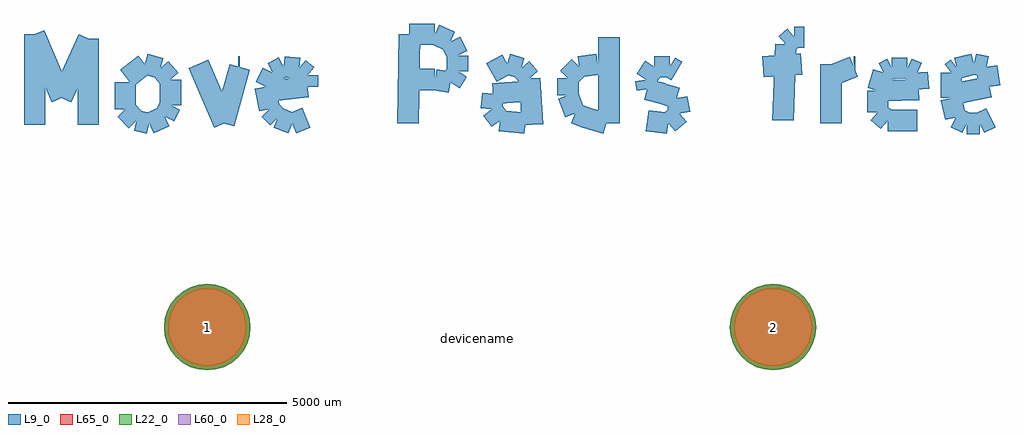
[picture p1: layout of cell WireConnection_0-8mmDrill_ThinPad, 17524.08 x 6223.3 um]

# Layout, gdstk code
import gdstk
lib = gdstk.Library(unit=1e-6, precision=1e-09)
def P(c, l, *ps):  # polygons
    for p in ps: c.add(gdstk.Polygon(p, *l))
L9_0 = (9, 0)
L22_0 = (22, 0)
L28_0 = (28, 0)
L60_0 = (60, 0)
L65_0 = (65, 0)

wireconnection_0_8mmdril = lib.new_cell('WireConnection_0-8mmDrill_ThinPad')
P(wireconnection_0_8mmdril, L22_0, [(10935,0),(10920.109,151.195),(10876.007,296.58),(10804.389,430.567),(10708.008,548.008),(10590.567,644.389),(10456.58,716.007),(10311.195,760.109),(10160,775),(10008.805,760.109),(9863.42,716.007),(9729.433,644.389),(9611.992,548.008),(9515.611,430.567),(9443.993,296.58),(9399.891,151.195),(9385,0),(9399.891,-151.195),(9443.993,-296.58),(9515.611,-430.567),(9611.992,-548.008),(9729.433,-644.389),(9863.42,-716.007),(10008.805,-760.109),(10160,-775),(10311.195,-760.109),(10456.58,-716.007),(10590.567,-644.389),(10708.008,-548.008),(10804.389,-430.567),(10876.007,-296.58),(10920.109,-151.195)],
  [(775,0),(760.109,151.195),(716.007,296.58),(644.389,430.567),(548.008,548.008),(430.567,644.389),(296.58,716.007),(151.195,760.109),(0,775),(-151.195,760.109),(-296.58,716.007),(-430.567,644.389),(-548.008,548.008),(-644.389,430.567),(-716.007,296.58),(-760.109,151.195),(-775,0),(-760.109,-151.195),(-716.007,-296.58),(-644.389,-430.567),(-548.008,-548.008),(-430.567,-644.389),(-296.58,-716.007),(-151.195,-760.109),(0,-775),(151.195,-760.109),(296.58,-716.007),(430.567,-644.389),(548.008,-548.008),(644.389,-430.567),(716.007,-296.58),(760.109,-151.195)])
P(wireconnection_0_8mmdril, L28_0, [(10860,0),(10846.55,136.563),(10806.716,267.878),(10742.029,388.899),(10654.975,494.975),(10548.899,582.029),(10427.878,646.716),(10296.563,686.55),(10160,700),(10023.437,686.55),(9892.122,646.716),(9771.101,582.029),(9665.025,494.975),(9577.971,388.899),(9513.284,267.878),(9473.45,136.563),(9460,0),(9473.45,-136.563),(9513.284,-267.878),(9577.971,-388.899),(9665.025,-494.975),(9771.101,-582.029),(9892.122,-646.716),(10023.437,-686.55),(10160,-700),(10296.563,-686.55),(10427.878,-646.716),(10548.899,-582.029),(10654.975,-494.975),(10742.029,-388.899),(10806.716,-267.878),(10846.55,-136.563)],
  [(700,0),(686.55,136.563),(646.716,267.878),(582.029,388.899),(494.975,494.975),(388.899,582.029),(267.878,646.716),(136.563,686.55),(0,700),(-136.563,686.55),(-267.878,646.716),(-388.899,582.029),(-494.975,494.975),(-582.029,388.899),(-646.716,267.878),(-686.55,136.563),(-700,0),(-686.55,-136.563),(-646.716,-267.878),(-582.029,-388.899),(-494.975,-494.975),(-388.899,-582.029),(-267.878,-646.716),(-136.563,-686.55),(0,-700),(136.563,-686.55),(267.878,-646.716),(388.899,-582.029),(494.975,-494.975),(582.029,-388.899),(646.716,-267.878),(686.55,-136.563)])
P(wireconnection_0_8mmdril, L60_0, [(10860,0),(10846.55,136.563),(10806.716,267.878),(10742.029,388.899),(10654.975,494.975),(10548.899,582.029),(10427.878,646.716),(10296.563,686.55),(10160,700),(10023.437,686.55),(9892.122,646.716),(9771.101,582.029),(9665.025,494.975),(9577.971,388.899),(9513.284,267.878),(9473.45,136.563),(9460,0),(9473.45,-136.563),(9513.284,-267.878),(9577.971,-388.899),(9665.025,-494.975),(9771.101,-582.029),(9892.122,-646.716),(10023.437,-686.55),(10160,-700),(10296.563,-686.55),(10427.878,-646.716),(10548.899,-582.029),(10654.975,-494.975),(10742.029,-388.899),(10806.716,-267.878),(10846.55,-136.563)],
  [(700,0),(686.55,136.563),(646.716,267.878),(582.029,388.899),(494.975,494.975),(388.899,582.029),(267.878,646.716),(136.563,686.55),(0,700),(-136.563,686.55),(-267.878,646.716),(-388.899,582.029),(-494.975,494.975),(-582.029,388.899),(-646.716,267.878),(-686.55,136.563),(-700,0),(-686.55,-136.563),(-646.716,-267.878),(-582.029,-388.899),(-494.975,-494.975),(-388.899,-582.029),(-267.878,-646.716),(-136.563,-686.55),(0,-700),(136.563,-686.55),(267.878,-646.716),(388.899,-582.029),(494.975,-494.975),(582.029,-388.899),(646.716,-267.878),(686.55,-136.563)])
P(wireconnection_0_8mmdril, L65_0, [(10935,0),(10920.109,151.195),(10876.007,296.58),(10804.389,430.567),(10708.008,548.008),(10590.567,644.389),(10456.58,716.007),(10311.195,760.109),(10160,775),(10008.805,760.109),(9863.42,716.007),(9729.433,644.389),(9611.992,548.008),(9515.611,430.567),(9443.993,296.58),(9399.891,151.195),(9385,0),(9399.891,-151.195),(9443.993,-296.58),(9515.611,-430.567),(9611.992,-548.008),(9729.433,-644.389),(9863.42,-716.007),(10008.805,-760.109),(10160,-775),(10311.195,-760.109),(10456.58,-716.007),(10590.567,-644.389),(10708.008,-548.008),(10804.389,-430.567),(10876.007,-296.58),(10920.109,-151.195)],
  [(775,0),(760.109,151.195),(716.007,296.58),(644.389,430.567),(548.008,548.008),(430.567,644.389),(296.58,716.007),(151.195,760.109),(0,775),(-151.195,760.109),(-296.58,716.007),(-430.567,644.389),(-548.008,548.008),(-644.389,430.567),(-716.007,296.58),(-760.109,151.195),(-775,0),(-760.109,-151.195),(-716.007,-296.58),(-644.389,-430.567),(-548.008,-548.008),(-430.567,-644.389),(-296.58,-716.007),(-151.195,-760.109),(0,-775),(151.195,-760.109),(296.58,-716.007),(430.567,-644.389),(548.008,-548.008),(644.389,-430.567),(716.007,-296.58),(760.109,-151.195)])
wireconnection_0_8mmdril.add(gdstk.FlexPath([(-2133.6,5181.6),(-2133.6,3632.2)], 380.998, ends="flush", simple_path=True, layer=9, datatype=0))  # L9_0
wireconnection_0_8mmdril.add(gdstk.FlexPath([(-2616.2,4114.8),(-2133.6,5181.6)], 380.998, ends="flush", simple_path=True, layer=9, datatype=0))  # L9_0
wireconnection_0_8mmdril.add(gdstk.FlexPath([(-3098.8,5257.8),(-2616.2,4114.8)], 380.998, ends="flush", simple_path=True, layer=9, datatype=0))  # L9_0
wireconnection_0_8mmdril.add(gdstk.FlexPath([(-3098.8,3632.2),(-3098.8,5257.8)], 380.998, ends="flush", simple_path=True, layer=9, datatype=0))  # L9_0
wireconnection_0_8mmdril.add(gdstk.FlexPath([(-1117.6,4724.4),(-1447.8,4470.4)], 380.998, ends="flush", simple_path=True, layer=9, datatype=0))  # L9_0
wireconnection_0_8mmdril.add(gdstk.FlexPath([(-838.2,4648.2),(-1117.6,4724.4)], 380.998, ends="flush", simple_path=True, layer=9, datatype=0))  # L9_0
wireconnection_0_8mmdril.add(gdstk.FlexPath([(-660.4,4445),(-838.2,4648.2)], 380.998, ends="flush", simple_path=True, layer=9, datatype=0))  # L9_0
wireconnection_0_8mmdril.add(gdstk.FlexPath([(-660.4,3987.8),(-660.4,4445)], 380.998, ends="flush", simple_path=True, layer=9, datatype=0))  # L9_0
wireconnection_0_8mmdril.add(gdstk.FlexPath([(-762,3784.6),(-660.4,3987.8)], 380.998, ends="flush", simple_path=True, layer=9, datatype=0))  # L9_0
wireconnection_0_8mmdril.add(gdstk.FlexPath([(-1041.4,3657.6),(-762,3784.6)], 380.998, ends="flush", simple_path=True, layer=9, datatype=0))  # L9_0
wireconnection_0_8mmdril.add(gdstk.FlexPath([(-1270,3708.4),(-1041.4,3657.6)], 380.998, ends="flush", simple_path=True, layer=9, datatype=0))  # L9_0
wireconnection_0_8mmdril.add(gdstk.FlexPath([(-1473.2,3911.6),(-1270,3708.4)], 380.998, ends="flush", simple_path=True, layer=9, datatype=0))  # L9_0
wireconnection_0_8mmdril.add(gdstk.FlexPath([(-1473.2,4394.2),(-1473.2,3911.6)], 380.998, ends="flush", simple_path=True, layer=9, datatype=0))  # L9_0
wireconnection_0_8mmdril.add(gdstk.FlexPath([(584.2,4673.6),(558.8,4673.6)], 380.998, ends="flush", simple_path=True, layer=9, datatype=0))  # L9_0
wireconnection_0_8mmdril.add(gdstk.FlexPath([(304.8,3657.6),(584.2,4673.6)], 380.998, ends="flush", simple_path=True, layer=9, datatype=0))  # L9_0
wireconnection_0_8mmdril.add(gdstk.FlexPath([(-152.4,4724.4),(304.8,3657.6)], 380.998, ends="flush", simple_path=True, layer=9, datatype=0))  # L9_0
wireconnection_0_8mmdril.add(gdstk.FlexPath([(1803.4,4318),(1168.4,4241.8)], 380.998, ends="flush", simple_path=True, layer=9, datatype=0))  # L9_0
wireconnection_0_8mmdril.add(gdstk.FlexPath([(1803.4,4521.2),(1803.4,4318)], 380.998, ends="flush", simple_path=True, layer=9, datatype=0))  # L9_0
wireconnection_0_8mmdril.add(gdstk.FlexPath([(1651,4648.2),(1803.4,4521.2)], 380.998, ends="flush", simple_path=True, layer=9, datatype=0))  # L9_0
wireconnection_0_8mmdril.add(gdstk.FlexPath([(1371.6,4673.6),(1651,4648.2)], 380.998, ends="flush", simple_path=True, layer=9, datatype=0))  # L9_0
wireconnection_0_8mmdril.add(gdstk.FlexPath([(1168.4,4572),(1371.6,4673.6)], 380.998, ends="flush", simple_path=True, layer=9, datatype=0))  # L9_0
wireconnection_0_8mmdril.add(gdstk.FlexPath([(1041.4,4318),(1168.4,4572)], 380.998, ends="flush", simple_path=True, layer=9, datatype=0))  # L9_0
wireconnection_0_8mmdril.add(gdstk.FlexPath([(1117.6,3911.6),(1041.4,4318)], 380.998, ends="flush", simple_path=True, layer=9, datatype=0))  # L9_0
wireconnection_0_8mmdril.add(gdstk.FlexPath([(1270,3759.2),(1117.6,3911.6)], 380.998, ends="flush", simple_path=True, layer=9, datatype=0))  # L9_0
wireconnection_0_8mmdril.add(gdstk.FlexPath([(1524,3657.6),(1270,3759.2)], 380.998, ends="flush", simple_path=True, layer=9, datatype=0))  # L9_0
wireconnection_0_8mmdril.add(gdstk.FlexPath([(1778,3759.2),(1524,3657.6)], 380.998, ends="flush", simple_path=True, layer=9, datatype=0))  # L9_0
wireconnection_0_8mmdril.add(gdstk.FlexPath([(4089.4,4445),(3632.2,4445)], 380.998, ends="flush", simple_path=True, layer=9, datatype=0))  # L9_0
wireconnection_0_8mmdril.add(gdstk.FlexPath([(4368.8,4394.2),(4089.4,4445)], 380.998, ends="flush", simple_path=True, layer=9, datatype=0))  # L9_0
wireconnection_0_8mmdril.add(gdstk.FlexPath([(4495.8,4597.4),(4368.8,4394.2)], 380.998, ends="flush", simple_path=True, layer=9, datatype=0))  # L9_0
wireconnection_0_8mmdril.add(gdstk.FlexPath([(4495.8,4876.8),(4495.8,4597.4)], 380.998, ends="flush", simple_path=True, layer=9, datatype=0))  # L9_0
wireconnection_0_8mmdril.add(gdstk.FlexPath([(4368.8,5130.8),(4495.8,4876.8)], 380.998, ends="flush", simple_path=True, layer=9, datatype=0))  # L9_0
wireconnection_0_8mmdril.add(gdstk.FlexPath([(4089.4,5257.8),(4368.8,5130.8)], 380.998, ends="flush", simple_path=True, layer=9, datatype=0))  # L9_0
wireconnection_0_8mmdril.add(gdstk.FlexPath([(3632.2,5257.8),(4089.4,5257.8)], 380.998, ends="flush", simple_path=True, layer=9, datatype=0))  # L9_0
wireconnection_0_8mmdril.add(gdstk.FlexPath([(3606.8,3657.6),(3632.2,5257.8)], 380.998, ends="flush", simple_path=True, layer=9, datatype=0))  # L9_0
wireconnection_0_8mmdril.add(gdstk.FlexPath([(5791.2,4470.4),(5842,3632.2)], 380.998, ends="flush", simple_path=True, layer=9, datatype=0))  # L9_0
wireconnection_0_8mmdril.add(gdstk.FlexPath([(5638.8,4648.2),(5791.2,4470.4)], 380.998, ends="flush", simple_path=True, layer=9, datatype=0))  # L9_0
wireconnection_0_8mmdril.add(gdstk.FlexPath([(5384.8,4724.4),(5638.8,4648.2)], 380.998, ends="flush", simple_path=True, layer=9, datatype=0))  # L9_0
wireconnection_0_8mmdril.add(gdstk.FlexPath([(5105.4,4572),(5384.8,4724.4)], 380.998, ends="flush", simple_path=True, layer=9, datatype=0))  # L9_0
wireconnection_0_8mmdril.add(gdstk.FlexPath([(5130.8,4191),(5842,4241.8)], 380.998, ends="flush", simple_path=True, layer=9, datatype=0))  # L9_0
wireconnection_0_8mmdril.add(gdstk.FlexPath([(5105.4,3911.6),(5130.8,4191)], 380.998, ends="flush", simple_path=True, layer=9, datatype=0))  # L9_0
wireconnection_0_8mmdril.add(gdstk.FlexPath([(5257.8,3708.4),(5105.4,3911.6)], 380.998, ends="flush", simple_path=True, layer=9, datatype=0))  # L9_0
wireconnection_0_8mmdril.add(gdstk.FlexPath([(5715,3657.6),(5257.8,3708.4)], 380.998, ends="flush", simple_path=True, layer=9, datatype=0))  # L9_0
wireconnection_0_8mmdril.add(gdstk.FlexPath([(7213.6,5207),(7213.6,3657.6)], 380.998, ends="flush", simple_path=True, layer=9, datatype=0))  # L9_0
wireconnection_0_8mmdril.add(gdstk.FlexPath([(6680.2,4673.6),(7010.4,4724.4)], 380.998, ends="flush", simple_path=True, layer=9, datatype=0))  # L9_0
wireconnection_0_8mmdril.add(gdstk.FlexPath([(6477,4470.4),(6680.2,4673.6)], 380.998, ends="flush", simple_path=True, layer=9, datatype=0))  # L9_0
wireconnection_0_8mmdril.add(gdstk.FlexPath([(6477,4165.6),(6477,4470.4)], 380.998, ends="flush", simple_path=True, layer=9, datatype=0))  # L9_0
wireconnection_0_8mmdril.add(gdstk.FlexPath([(6604,3835.4),(6477,4165.6)], 380.998, ends="flush", simple_path=True, layer=9, datatype=0))  # L9_0
wireconnection_0_8mmdril.add(gdstk.FlexPath([(6807.2,3759.2),(6604,3835.4)], 380.998, ends="flush", simple_path=True, layer=9, datatype=0))  # L9_0
wireconnection_0_8mmdril.add(gdstk.FlexPath([(7162.8,3657.6),(6807.2,3759.2)], 380.998, ends="flush", simple_path=True, layer=9, datatype=0))  # L9_0
wireconnection_0_8mmdril.add(gdstk.FlexPath([(8280.4,3657.6),(7899.4,3708.4)], 380.998, ends="flush", simple_path=True, layer=9, datatype=0))  # L9_0
wireconnection_0_8mmdril.add(gdstk.FlexPath([(8483.6,3835.4),(8280.4,3657.6)], 380.998, ends="flush", simple_path=True, layer=9, datatype=0))  # L9_0
wireconnection_0_8mmdril.add(gdstk.FlexPath([(8432.8,4114.8),(8483.6,3835.4)], 380.998, ends="flush", simple_path=True, layer=9, datatype=0))  # L9_0
wireconnection_0_8mmdril.add(gdstk.FlexPath([(8178.8,4191),(8432.8,4114.8)], 380.998, ends="flush", simple_path=True, layer=9, datatype=0))  # L9_0
wireconnection_0_8mmdril.add(gdstk.FlexPath([(7899.4,4267.2),(8178.8,4191)], 380.998, ends="flush", simple_path=True, layer=9, datatype=0))  # L9_0
wireconnection_0_8mmdril.add(gdstk.FlexPath([(7874,4445),(7899.4,4267.2)], 380.998, ends="flush", simple_path=True, layer=9, datatype=0))  # L9_0
wireconnection_0_8mmdril.add(gdstk.FlexPath([(8026.4,4673.6),(7874,4445)], 380.998, ends="flush", simple_path=True, layer=9, datatype=0))  # L9_0
wireconnection_0_8mmdril.add(gdstk.FlexPath([(8305.8,4673.6),(8026.4,4673.6)], 380.998, ends="flush", simple_path=True, layer=9, datatype=0))  # L9_0
wireconnection_0_8mmdril.add(gdstk.FlexPath([(8432.8,4597.4),(8305.8,4673.6)], 380.998, ends="flush", simple_path=True, layer=9, datatype=0))  # L9_0
wireconnection_0_8mmdril.add(gdstk.FlexPath([(10388.6,5080),(10337.8,3708.4)], 380.998, ends="flush", simple_path=True, layer=9, datatype=0))  # L9_0
wireconnection_0_8mmdril.add(gdstk.FlexPath([(10541,5207),(10388.6,5080)], 380.998, ends="flush", simple_path=True, layer=9, datatype=0))  # L9_0
wireconnection_0_8mmdril.add(gdstk.FlexPath([(10718.8,5207),(10541,5207)], 380.998, ends="flush", simple_path=True, layer=9, datatype=0))  # L9_0
wireconnection_0_8mmdril.add(gdstk.FlexPath([(9982.2,4673.6),(10668,4724.4)], 380.998, ends="flush", simple_path=True, layer=9, datatype=0))  # L9_0
wireconnection_0_8mmdril.add(gdstk.FlexPath([(11201.4,4724.4),(11201.4,3657.6)], 380.998, ends="flush", simple_path=True, layer=9, datatype=0))  # L9_0
wireconnection_0_8mmdril.add(gdstk.FlexPath([(11607.8,4673.6),(11633.2,4673.6)], 380.998, ends="flush", simple_path=True, layer=9, datatype=0))  # L9_0
wireconnection_0_8mmdril.add(gdstk.FlexPath([(11226.8,4521.2),(11607.8,4673.6)], 380.998, ends="flush", simple_path=True, layer=9, datatype=0))  # L9_0
wireconnection_0_8mmdril.add(gdstk.FlexPath([(12776.2,4267.2),(12141.2,4241.8)], 380.998, ends="flush", simple_path=True, layer=9, datatype=0))  # L9_0
wireconnection_0_8mmdril.add(gdstk.FlexPath([(12750.8,4572),(12776.2,4267.2)], 380.998, ends="flush", simple_path=True, layer=9, datatype=0))  # L9_0
wireconnection_0_8mmdril.add(gdstk.FlexPath([(12573,4648.2),(12750.8,4572)], 380.998, ends="flush", simple_path=True, layer=9, datatype=0))  # L9_0
wireconnection_0_8mmdril.add(gdstk.FlexPath([(12293.6,4648.2),(12573,4648.2)], 380.998, ends="flush", simple_path=True, layer=9, datatype=0))  # L9_0
wireconnection_0_8mmdril.add(gdstk.FlexPath([(12141.2,4572),(12293.6,4648.2)], 380.998, ends="flush", simple_path=True, layer=9, datatype=0))  # L9_0
wireconnection_0_8mmdril.add(gdstk.FlexPath([(12039.6,4241.8),(12141.2,4572)], 380.998, ends="flush", simple_path=True, layer=9, datatype=0))  # L9_0
wireconnection_0_8mmdril.add(gdstk.FlexPath([(12039.6,3860.8),(12039.6,4241.8)], 380.998, ends="flush", simple_path=True, layer=9, datatype=0))  # L9_0
wireconnection_0_8mmdril.add(gdstk.FlexPath([(12217.4,3708.4),(12039.6,3860.8)], 380.998, ends="flush", simple_path=True, layer=9, datatype=0))  # L9_0
wireconnection_0_8mmdril.add(gdstk.FlexPath([(12420.6,3708.4),(12217.4,3708.4)], 380.998, ends="flush", simple_path=True, layer=9, datatype=0))  # L9_0
wireconnection_0_8mmdril.add(gdstk.FlexPath([(12750.8,3708.4),(12420.6,3708.4)], 380.998, ends="flush", simple_path=True, layer=9, datatype=0))  # L9_0
wireconnection_0_8mmdril.add(gdstk.FlexPath([(13436.6,4191),(13436.6,4241.8)], 380.998, ends="flush", simple_path=True, layer=9, datatype=0))  # L9_0
wireconnection_0_8mmdril.add(gdstk.FlexPath([(14046.2,4318),(13436.6,4191)], 380.998, ends="flush", simple_path=True, layer=9, datatype=0))  # L9_0
wireconnection_0_8mmdril.add(gdstk.FlexPath([(13995.4,4673.6),(14046.2,4318)], 380.998, ends="flush", simple_path=True, layer=9, datatype=0))  # L9_0
wireconnection_0_8mmdril.add(gdstk.FlexPath([(13766.8,4724.4),(13995.4,4673.6)], 380.998, ends="flush", simple_path=True, layer=9, datatype=0))  # L9_0
wireconnection_0_8mmdril.add(gdstk.FlexPath([(13462,4648.2),(13766.8,4724.4)], 380.998, ends="flush", simple_path=True, layer=9, datatype=0))  # L9_0
wireconnection_0_8mmdril.add(gdstk.FlexPath([(13360.4,4572),(13462,4648.2)], 380.998, ends="flush", simple_path=True, layer=9, datatype=0))  # L9_0
wireconnection_0_8mmdril.add(gdstk.FlexPath([(13360.4,4114.8),(13360.4,4572)], 380.998, ends="flush", simple_path=True, layer=9, datatype=0))  # L9_0
wireconnection_0_8mmdril.add(gdstk.FlexPath([(13436.6,3759.2),(13360.4,4114.8)], 380.998, ends="flush", simple_path=True, layer=9, datatype=0))  # L9_0
wireconnection_0_8mmdril.add(gdstk.FlexPath([(13639.8,3657.6),(13436.6,3759.2)], 380.998, ends="flush", simple_path=True, layer=9, datatype=0))  # L9_0
wireconnection_0_8mmdril.add(gdstk.FlexPath([(13868.4,3657.6),(13639.8,3657.6)], 380.998, ends="flush", simple_path=True, layer=9, datatype=0))  # L9_0
wireconnection_0_8mmdril.add(gdstk.FlexPath([(14071.6,3759.2),(13868.4,3657.6)], 380.998, ends="flush", simple_path=True, layer=9, datatype=0))  # L9_0
wireconnection_0_8mmdril.add(gdstk.Label('2', (10160,0), layer=28, texttype=0))
wireconnection_0_8mmdril.add(gdstk.Label('1', (0,0), layer=28, texttype=0))
wireconnection_0_8mmdril.add(gdstk.Label('type', (5080,-3810), layer=9, texttype=0))
wireconnection_0_8mmdril.add(gdstk.Label('devicename', (4851.4,-203.2), layer=9, texttype=0))

lib.write_gds('WireConnection_0-8mmDrill_ThinPad.gds')
